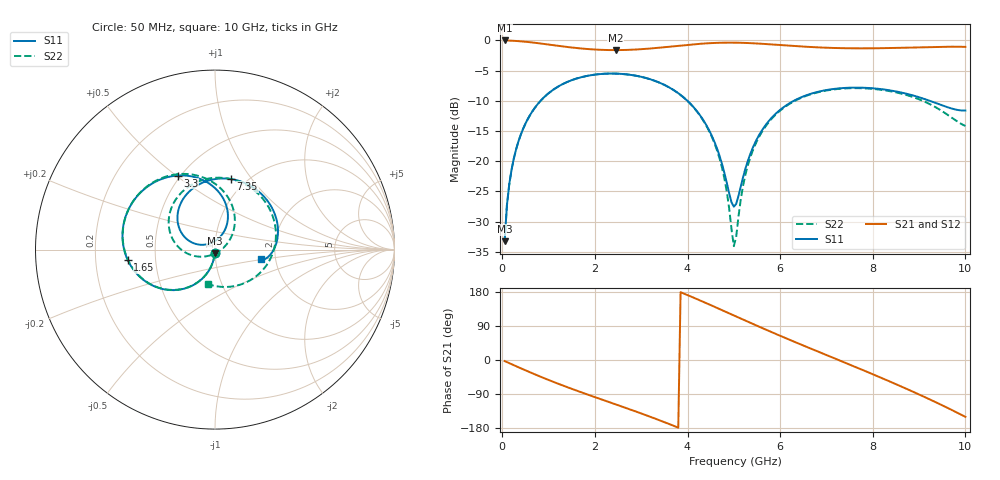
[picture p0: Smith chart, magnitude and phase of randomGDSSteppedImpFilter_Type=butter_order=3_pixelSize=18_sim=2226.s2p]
! freq	dB(S11)	phase(S11)	dB(S12)	phase(S12)
!  dB(S21)	phase(S21)	dB(S22)	phase(S22)
!S-par simulation data
#  GHz  S  DB  R 50
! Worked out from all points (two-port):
!   200 points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, 50 MHz to 10 GHz, reference 50 ohm
!   highest |S21| = -0.01 dB at 50 MHz (marker M1); lowest = -1.6 dB at 2.45 GHz (marker M2)
!   |S21| within 3 dB of the highest: start of sweep to end of sweep
!   lowest |S11| = -33.3 dB at 50 MHz (marker M3), VSWR 1.04, Z = 49.8 - j2.15 ohm
!   |S11| at or under -10 dB: start of sweep to 827.3 MHz; 3.998 GHz to 6.295 GHz (2.297 GHz wide, 44.6 % of centre); 9.229 GHz to end of sweep
!   |S22| runs from -34.1 to -5.5 dB; largest |S21 - S12| = 0
!   S11 on the Smith chart (normalised r, x): 50 MHz: 1.00, -0.04; 1.65 GHz: 0.34, -0.05; 3.3 GHz: 0.48, +0.51; 7.35 GHz: 0.85, +0.80; 10 GHz: 1.68, -0.19
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0.05  -33.30 -92.8  -0.01 -2.8  -0.01 -2.8  -33.30 -92.8
0.1  -27.28 -95.9  -0.02 -5.6  -0.02 -5.6  -27.32 -96.0
0.2  -21.42 -101.6  -0.05 -11.1  -0.05 -11.1  -21.41 -101.6
0.5  -13.78 -117.6  -0.22 -27.2  -0.22 -27.2  -13.79 -117.7
1.05  -8.44 -145.5  -0.74 -55.2  -0.74 -55.2  -8.45 -145.8
1.65  -6.21 -173.0  -1.30 -82.8  -1.30 -82.8  -6.21 -173.6
1.75  -6.01 -177.4  -1.37 -87.2  -1.37 -87.2  -6.01 -178.0
2.45  -5.50 153.0  -1.61 -117.2  -1.61 -117.2  -5.50 151.8
3.3  -6.71 116.7  -1.27 -154.6  -1.27 -154.6  -6.71 114.0
3.4  -7.01 112.2  -1.20 -159.3  -1.20 -159.3  -7.02 109.3
3.95  -9.66 87.5  -0.78 173.9  -0.78 173.9  -9.69 81.7
4.45  -14.65 67.3  -0.47 147.6  -0.47 147.6  -14.77 52.9
4.75  -20.62 64.8  -0.38 131.3  -0.38 131.3  -21.26 29.8
5  -27.55 111.9  -0.37 117.6  -0.37 117.6  -34.08 -52.1
5.05  -27.08 130.2  -0.38 114.8  -0.38 114.8  -32.57 -96.8
5.25  -21.24 161.8  -0.42 103.9  -0.42 103.9  -22.24 -149.5
5.55  -15.61 159.9  -0.53 87.7  -0.53 87.7  -15.90 -173.1
6.7  -8.75 108.6  -1.11 28.1  -1.11 28.1  -8.83 124.4
7.35  -7.89 77.3  -1.29 -4.5  -1.29 -4.5  -7.97 91.7
8.35  -8.25 30.4  -1.27 -55.8  -1.27 -55.8  -8.38 38.6
9.2  -9.92 -2.5  -1.10 -102.2  -1.10 -102.2  -10.43 -16.4
10  -11.62 -11.7  -1.07 -150.0  -1.07 -150.0  -14.17 -102.2
